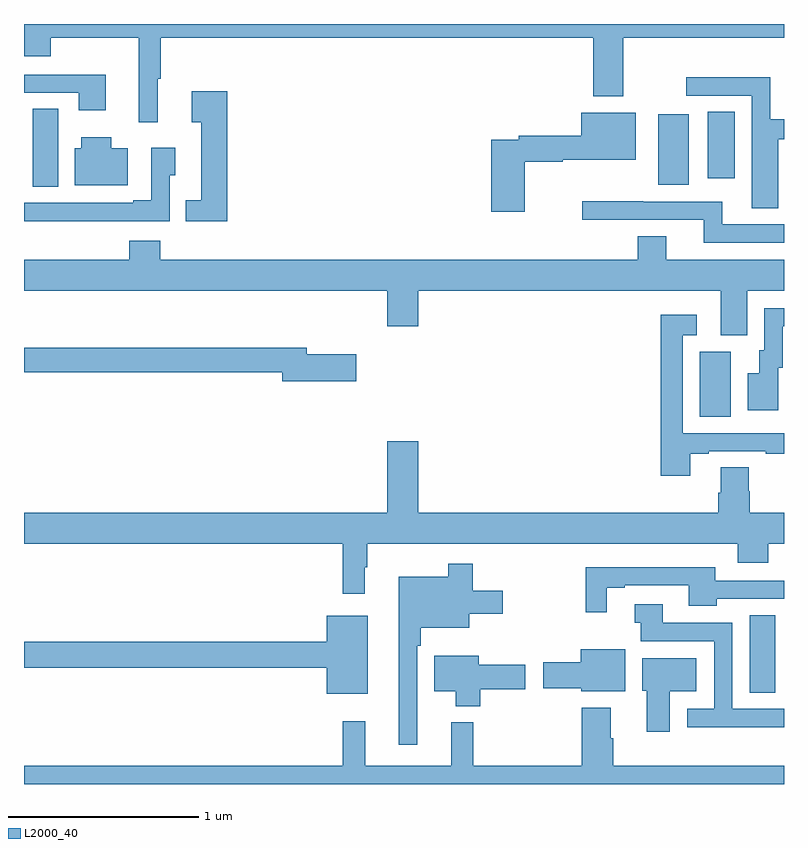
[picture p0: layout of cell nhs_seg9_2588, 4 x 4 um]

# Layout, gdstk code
import gdstk
lib = gdstk.Library(unit=1e-6, precision=1e-09)
def R(c, l, rs):  # rectangles x0, y0, x1, y1
    for r in rs: c.add(gdstk.rectangle(r[:2], r[2:], *l))
def P(c, l, *ps):  # polygons
    for p in ps: c.add(gdstk.Polygon(p, *l))
L2000_40 = (2000, 40)

nhs_seg9_2588 = lib.new_cell('nhs_seg9_2588')
R(nhs_seg9_2588, L2000_40, [(262.82,1184.98,262.954,1185.389), (262.556,1186.432,262.72,1186.776), (259.046,1187.644,259.18,1188.053), (262.337,1187.654,262.498,1188.025), (262.598,1187.688,262.741,1188.038)])
P(nhs_seg9_2588, L2000_40, [(259.703,1188.213),(259.721,1188.213),(259.721,1188.428),(261.995,1188.428),(261.995,1188.119),(262.155,1188.119),(262.155,1188.428),(263,1188.428),(263,1188.5),(259,1188.5),(259,1188.329),(259.142,1188.329),(259.142,1188.428),(259.604,1188.428),(259.604,1187.982),(259.703,1187.982)],
  [(259.429,1188.234),(259,1188.234),(259,1188.138),(259.289,1188.138),(259.289,1188.045),(259.429,1188.045)],
  [(262.969,1187.894),(263,1187.894),(263,1187.998),(262.928,1187.998),(262.928,1188.221),(262.485,1188.221),(262.485,1188.123),(262.829,1188.123),(262.829,1187.53),(262.969,1187.53)],
  [(260.069,1188.145),(259.883,1188.145),(259.883,1187.983),(259.934,1187.983),(259.934,1187.572),(259.852,1187.572),(259.852,1187.462),(260.069,1187.462)],
  [(261.636,1187.776),(261.836,1187.776),(261.836,1187.786),(262.219,1187.786),(262.219,1188.034),(261.932,1188.034),(261.932,1187.912),(261.604,1187.912),(261.604,1187.892),(261.458,1187.892),(261.458,1187.511),(261.636,1187.511)],
  [(259.546,1187.845),(259.459,1187.845),(259.459,1187.905),(259.301,1187.905),(259.301,1187.845),(259.268,1187.845),(259.268,1187.651),(259.546,1187.651)],
  [(259.469,1187.463),(259.767,1187.463),(259.767,1187.703),(259.795,1187.703),(259.795,1187.848),(259.671,1187.848),(259.671,1187.572),(259.574,1187.572),(259.574,1187.559),(259,1187.559),(259,1187.462),(259.469,1187.462)],
  [(263,1187.445),(262.675,1187.445),(262.675,1187.565),(262.259,1187.565),(262.259,1187.568),(261.939,1187.568),(261.939,1187.469),(262.577,1187.469),(262.577,1187.349),(263,1187.349)],
  [(262.807,1187.096),(263,1187.096),(263,1187.26),(262.381,1187.26),(262.381,1187.384),(262.229,1187.384),(262.229,1187.26),(259.718,1187.26),(259.718,1187.359),(259.553,1187.359),(259.553,1187.26),(259,1187.26),(259,1187.096),(260.912,1187.096),(260.912,1186.908),(261.076,1186.908),(261.076,1187.096),(262.667,1187.096),(262.667,1186.861),(262.807,1186.861)],
  [(262.969,1186.692),(262.993,1186.692),(262.993,1186.908),(263,1186.908),(263,1187.004),(262.896,1187.004),(262.896,1186.782),(262.871,1186.782),(262.871,1186.663),(262.808,1186.663),(262.808,1186.467),(262.969,1186.467)],
  [(262.507,1186.239),(262.603,1186.239),(262.603,1186.251),(262.903,1186.251),(262.903,1186.239),(263,1186.239),(263,1186.347),(262.467,1186.347),(262.467,1186.863),(262.54,1186.863),(262.54,1186.969),(262.351,1186.969),(262.351,1186.122),(262.507,1186.122)],
  [(260.749,1186.761),(260.488,1186.761),(260.488,1186.795),(259,1186.795),(259,1186.666),(260.36,1186.666),(260.36,1186.619),(260.749,1186.619)],
  [(260.794,1185.641),(260.806,1185.641),(260.806,1185.764),(262.757,1185.764),(262.757,1185.665),(262.917,1185.665),(262.917,1185.764),(263,1185.764),(263,1185.928),(262.82,1185.928),(262.82,1186.041),(262.815,1186.041),(262.815,1186.166),(262.667,1186.166),(262.667,1186.034),(262.655,1186.034),(262.655,1185.928),(261.076,1185.928),(261.076,1186.303),(260.912,1186.303),(260.912,1185.928),(259,1185.928),(259,1185.764),(260.677,1185.764),(260.677,1185.501),(260.794,1185.501)],
  [(261.069,1185.227),(261.089,1185.227),(261.089,1185.323),(261.343,1185.323),(261.343,1185.395),(261.52,1185.395),(261.52,1185.517),(261.362,1185.517),(261.362,1185.658),(261.234,1185.658),(261.234,1185.592),(260.972,1185.592),(260.972,1184.706),(261.069,1184.706)],
  [(262.066,1185.534),(262.162,1185.534),(262.162,1185.546),(262.499,1185.546),(262.499,1185.437),(262.647,1185.437),(262.647,1185.474),(263,1185.474),(263,1185.57),(262.639,1185.57),(262.639,1185.642),(261.957,1185.642),(261.957,1185.405),(262.066,1185.405)],
  [(263,1184.895),(262.728,1184.895),(262.728,1185.348),(262.363,1185.348),(262.363,1185.447),(262.215,1185.447),(262.215,1185.35),(262.246,1185.35),(262.246,1185.252),(262.632,1185.252),(262.632,1184.895),(262.491,1184.895),(262.491,1184.798),(263,1184.798)],
  [(260.809,1185.385),(260.594,1185.385),(260.594,1185.248),(259,1185.248),(259,1185.112),(260.594,1185.112),(260.594,1184.975),(260.809,1184.975)],
  [(262.165,1185.208),(261.929,1185.208),(261.929,1185.14),(261.732,1185.14),(261.732,1185.005),(261.933,1185.005),(261.933,1184.987),(262.165,1184.987)],
  [(261.402,1184.998),(261.637,1184.998),(261.637,1185.127),(261.394,1185.127),(261.394,1185.175),(261.158,1185.175),(261.158,1184.987),(261.272,1184.987),(261.272,1184.909),(261.402,1184.909)],
  [(262.399,1184.987),(262.537,1184.987),(262.537,1185.163),(262.253,1185.163),(262.253,1184.991),(262.277,1184.991),(262.277,1184.775),(262.399,1184.775)],
  [(263,1184.596),(262.1,1184.596),(262.1,1184.741),(262.087,1184.741),(262.087,1184.902),(261.935,1184.902),(261.935,1184.596),(261.365,1184.596),(261.365,1184.824),(261.248,1184.824),(261.248,1184.596),(260.795,1184.596),(260.795,1184.83),(260.677,1184.83),(260.677,1184.596),(259,1184.596),(259,1184.5),(263,1184.5)])

lib.write_gds('nhs_seg9_2588.gds')
